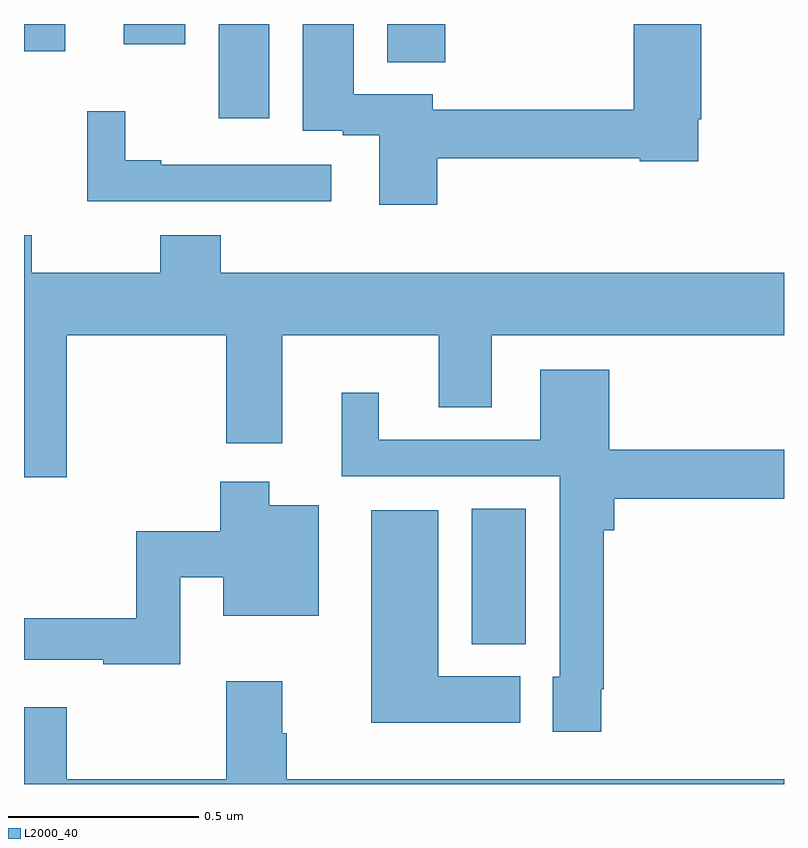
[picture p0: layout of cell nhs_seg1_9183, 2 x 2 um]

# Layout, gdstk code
import gdstk
lib = gdstk.Library(unit=1e-6, precision=1e-09)
def R(c, l, rs):  # rectangles x0, y0, x1, y1
    for r in rs: c.add(gdstk.rectangle(r[:2], r[2:], *l))
def P(c, l, *ps):  # polygons
    for p in ps: c.add(gdstk.Polygon(p, *l))
L2000_40 = (2000, 40)

nhs_seg1_9183 = lib.new_cell('nhs_seg1_9183')
R(nhs_seg1_9183, L2000_40, [(226.178,569.567,226.321,569.924), (225.512,570.951,225.646,571.199), (225.956,571.099,226.109,571.199), (225,571.127,225.109,571.199), (225.263,571.146,225.424,571.199)])
P(nhs_seg1_9183, L2000_40, [(226.088,570.846),(226.62,570.846),(226.62,570.838),(226.774,570.838),(226.774,570.949),(226.782,570.949),(226.782,571.198),(226.604,571.198),(226.604,570.974),(226.075,570.974),(226.075,571.014),(225.868,571.014),(225.868,571.199),(225.734,571.199),(225.734,570.918),(225.839,570.918),(225.839,570.906),(225.935,570.906),(225.935,570.723),(226.088,570.723)],
  [(225.808,570.828),(225.361,570.828),(225.361,570.841),(225.267,570.841),(225.267,570.97),(225.167,570.97),(225.167,570.732),(225.808,570.732)],
  [(225.112,570.38),(225.532,570.38),(225.532,570.096),(225.679,570.096),(225.679,570.38),(226.091,570.38),(226.091,570.19),(226.231,570.19),(226.231,570.38),(227,570.38),(227,570.544),(225.518,570.544),(225.518,570.643),(225.358,570.643),(225.358,570.544),(225.021,570.544),(225.021,570.643),(225,570.643),(225,570.006),(225.112,570.006)],
  [(226.519,569.449),(226.526,569.449),(226.526,569.867),(226.553,569.867),(226.553,569.95),(227,569.95),(227,570.079),(226.54,570.079),(226.54,570.289),(226.358,570.289),(226.358,570.105),(225.934,570.105),(225.934,570.229),(225.836,570.229),(225.836,570.009),(226.41,570.009),(226.41,569.481),(226.391,569.481),(226.391,569.337),(226.519,569.337)],
  [(225.411,569.743),(225.524,569.743),(225.524,569.642),(225.775,569.642),(225.775,569.932),(225.646,569.932),(225.646,569.995),(225.517,569.995),(225.517,569.864),(225.295,569.864),(225.295,569.635),(225,569.635),(225,569.526),(225.208,569.526),(225.208,569.514),(225.411,569.514)],
  [(226.306,569.482),(226.09,569.482),(226.09,569.92),(225.914,569.92),(225.914,569.36),(226.306,569.36)],
  [(227,569.212),(225.692,569.212),(225.692,569.333),(225.679,569.333),(225.679,569.47),(225.532,569.47),(225.532,569.212),(225.112,569.212),(225.112,569.401),(225,569.401),(225,569.199),(227,569.199)])

lib.write_gds('nhs_seg1_9183.gds')
